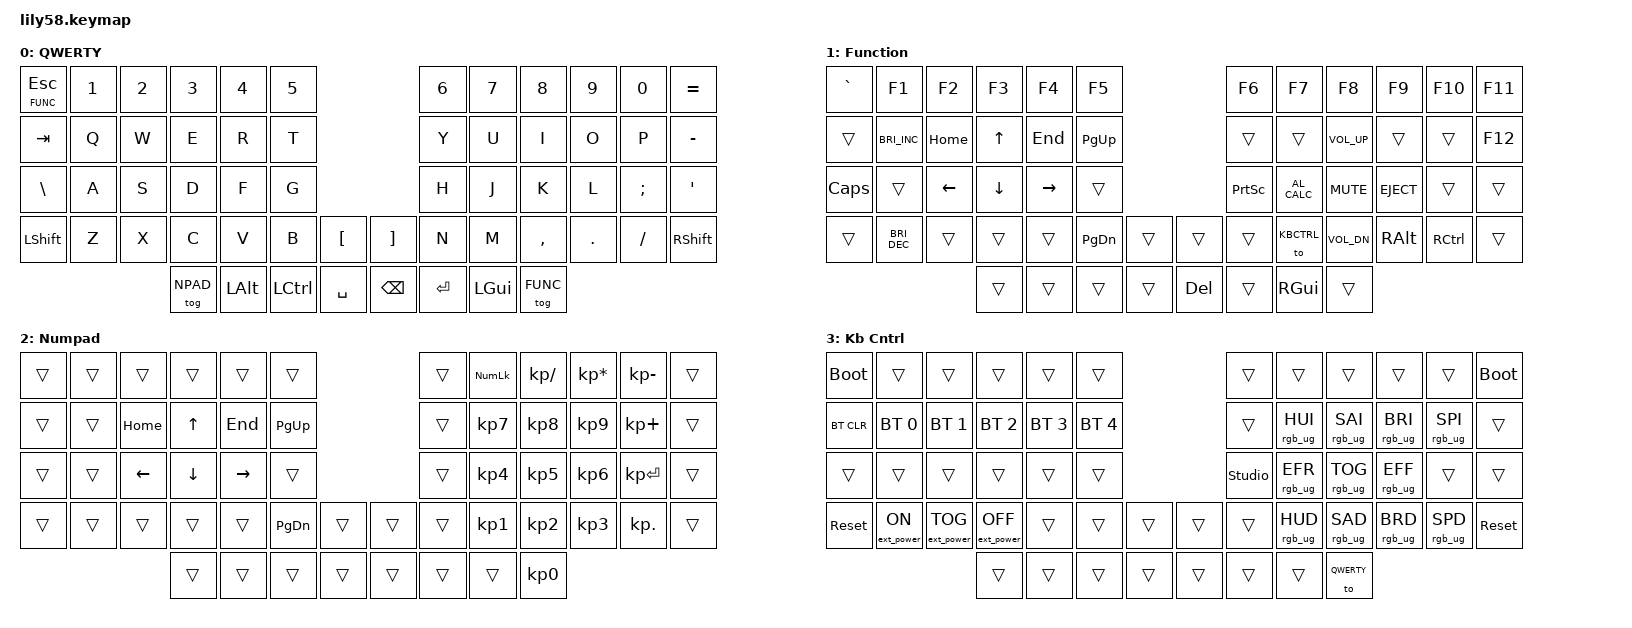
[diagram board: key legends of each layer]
/*
 * Copyright (c) 2020 The ZMK Contributors
 *
 * SPDX-License-Identifier: MIT
 */

#include <behaviors.dtsi>
#include <dt-bindings/zmk/keys.h>
#include <dt-bindings/zmk/bt.h>
#include <dt-bindings/zmk/ext_power.h>
#include <dt-bindings/zmk/rgb.h>

#define QWERTY 0
#define FUNC   1
#define NPAD   2
#define KBCTRL 3

&led_strip {
	chain-length = <35>;
};

&lt {
	tapping-term-ms = <200>;
};

/ {
    keymap {
        compatible = "zmk,keymap";

        default_layer {
			display-name="QWERTY";
// -----------------------------------------------------------------------------------------------------------------
// |LT(FUNC,ESC)|  1  |  2  |  3   |  4   |  5   |                   |  6   |  7    |  8    |  9   |   0   |   =+  |
// |  TAB       |  Q  |  W  |  E   |  R   |  T   |                   |  Y   |  U    |  I    |  O   |   P   |   -   |
// |   \|       |  A  |  S  |  D   |  F   |  G   |                   |  H   |  J    |  K    |  L   |   ;   |   '   |
// | SHIFT      |  Z  |  X  |  C   |  V   |  B   |   "["  |  |  "]"  |  N   |  M    |  ,    |  .   |   /   | SHIFT |
//                          |TOGNUM|  ALT | CTRL |  SPACE |  |  BSPC | ENTER|WINDOWS|TOGFUNC|
            bindings = <
&lt FUNC ESC &kp N1 &kp N2 &kp N3    &kp N4   &kp N5                         &kp N6    &kp N7   &kp N8    &kp N9  &kp N0   &kp EQUAL
&kp TAB      &kp Q  &kp W  &kp E     &kp R    &kp T                          &kp Y     &kp U    &kp I     &kp O   &kp P    &kp MINUS
&kp BSLH     &kp A  &kp S  &kp D     &kp F    &kp G                          &kp H     &kp J    &kp K     &kp L   &kp SEMI &kp SQT
&kp LSHFT    &kp Z  &kp X  &kp C     &kp V    &kp B     &kp LBKT    &kp RBKT &kp N     &kp M    &kp COMMA &kp DOT &kp FSLH &kp RSHFT
                           &tog NPAD &kp LALT &kp LCTRL &kp SPACE   &kp BSPC &kp ENTER &kp LGUI &tog FUNC
            >;
        };

        function_layer {
			display-name="Function";
// ------------------------------------------------------------------------------------------------------------
// |  `~   |  F1 |  F2 |  F3  |  F4  |  F5  |                   |  F6  |  F7   |  F8   |  F9  |  F10  |  F11  |
// |       |DsBr+|HOME |  UP  |  END | PgUp |                   |      |       | VOL+  |      |       |  F12  |
// | CAPSLK|     |LEFT | DOWN | RIGHT|      |                   |PrtScr| CALC  |  MUTE | EJECT|       |       |
// |       |DsBr-|     |      |      | PgDn |        |  |       |      |TO_CTRL| VOL-  | RALT | RCTRL |       |
//                     |      |      |      |        |  | DELETE|      | RGUI  |       |
            bindings = <
&kp GRAVE &kp F1        &kp F2   &kp F3   &kp F4       &kp F5                     &kp F6    &kp F7        &kp F8       &kp F9      &kp F10   &kp F11
&trans    &kp C_BRI_INC &kp HOME &kp UP   &kp END      &kp PG_UP                  &trans    &trans        &kp C_VOL_UP &trans      &trans    &kp F12
&kp CLCK  &trans        &kp LEFT &kp DOWN &kp RIGHT    &trans                     &kp PSCRN &kp C_AL_CALC &kp C_MUTE   &kp C_EJECT &trans    &trans
&trans    &kp C_BRI_DEC &trans   &trans   &trans       &kp PG_DN &trans   &trans  &trans    &to KBCTRL    &kp C_VOL_DN &kp RALT    &kp RCTRL &trans
                                 &trans   &trans       &trans    &trans   &kp DEL &trans    &kp RGUI      &trans
            >;
        };

        numpad_layer {
			display-name="Numpad";
// ------------------------------------------------------------------------------------------------------------
// |       |     |     |      |      |      |                   |      |NUMLOCK|   /   |  *   |  -    |       |
// |       |     |HOME |  UP  | END  | PgUp |                   |      |   7   |   8   |  9   |  +    |       |
// |       |     |LEFT | DOWN | RIGHT|      |                   |TG_FUN|   4   |   5   |  6   | ENTER |       |
// |       |     |     |      |      | PgDn |        |  |       |      |   1   |   2   |  3   |  .    |       |
//                     |      |      |      |        |  |       |      |       |   0   |
            bindings = <
&trans &trans &trans   &trans   &trans    &trans                       &trans &kp KP_NLCK &kp KP_DIVIDE &kp KP_MULTIPLY &kp KP_MINUS &trans
&trans &trans &kp HOME &kp UP   &kp END   &kp PG_UP                    &trans &kp KP_N7   &kp KP_N8     &kp KP_N9       &kp KP_PLUS  &trans
&trans &trans &kp LEFT &kp DOWN &kp RIGHT &trans                       &trans &kp KP_N4   &kp KP_N5     &kp KP_N6       &kp KP_ENTER &trans
&trans &trans &trans   &trans   &trans    &kp PG_DN &trans   &trans    &trans &kp KP_N1   &kp KP_N2     &kp KP_N3       &kp KP_DOT   &trans
                       &trans   &trans    &trans    &trans   &trans    &trans &trans      &kp KP_N0
            >;
        };

        kb_control_layer {
			display-name="Kb Cntrl";
// ------------------------------------------------------------------------------------------------------------
// |BOOTLDR|     |      |      |      |      |                   |      |       |       |      |       |BOOTLDR|
// | BTCLR | BT1 | BT2  |  BT3 |  BT4 |  BT5 |                   |      | HUE+  | SAT+  | BRI+ | SPD+  |       |
// |       |     |      |      |      |      |                   |ZMKSTD| EFF_BK|RGB_TOG|EFF_FW|       |       |
// |SYS_RST|EP ON|EP_TOG|EP_OFF|      |      |        |  |       |      | HUE-  | SAT-  | BRI- | SPD-  |SYS_RST|
//                      |      |      |      |        |  |       |      |       |TO_QWER|
            bindings = <
&bootloader &trans           &trans            &trans            &trans       &trans                    &trans         &trans          &trans          &trans          &trans          &bootloader
&bt BT_CLR  &bt BT_SEL 0     &bt BT_SEL 1      &bt BT_SEL 2      &bt BT_SEL 3 &bt BT_SEL 4              &trans         &rgb_ug RGB_HUI &rgb_ug RGB_SAI &rgb_ug RGB_BRI &rgb_ug RGB_SPI &trans
&trans      &trans           &trans            &trans            &trans       &trans                    &studio_unlock &rgb_ug RGB_EFR &rgb_ug RGB_TOG &rgb_ug RGB_EFF &trans          &trans
&sys_reset  &ext_power EP_ON &ext_power EP_TOG &ext_power EP_OFF &trans       &trans    &trans   &trans &trans         &rgb_ug RGB_HUD &rgb_ug RGB_SAD &rgb_ug RGB_BRD &rgb_ug RGB_SPD &sys_reset
                                               &trans            &trans       &trans    &trans   &trans &trans         &trans          &to QWERTY
            >;
        };
    };
};
